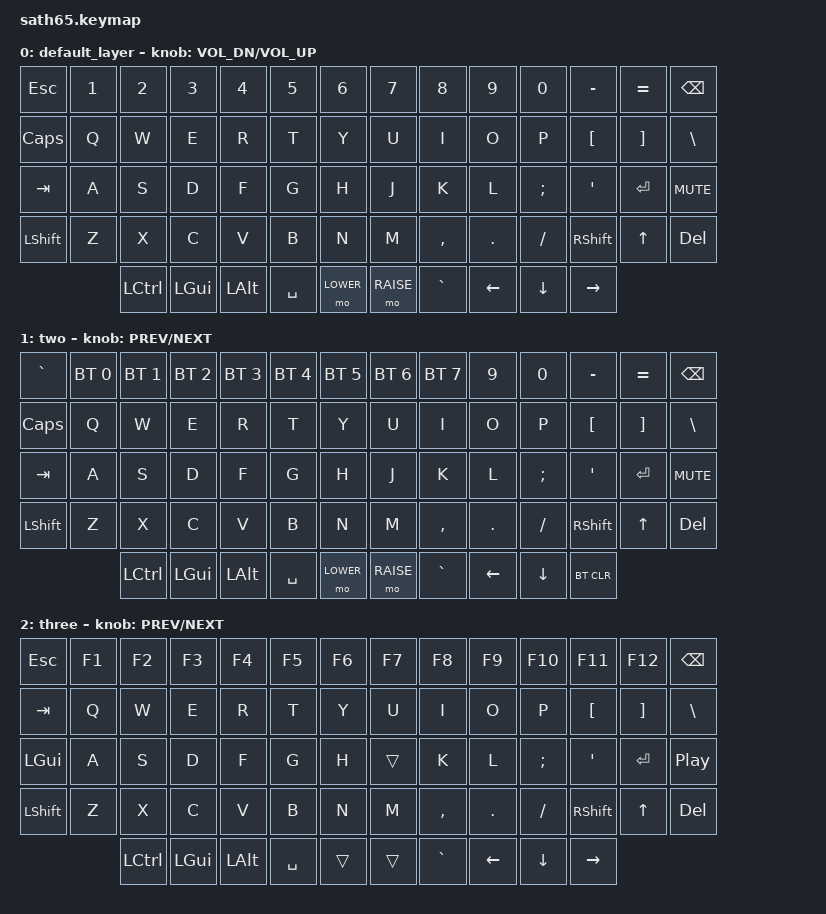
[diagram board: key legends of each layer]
/*
 * Copyright (c) 2020 The ZMK Contributors
 *
 * SPDX-License-Identifier: MIT
 */

#include <behaviors.dtsi>
#include <dt-bindings/zmk/keys.h>
#include <dt-bindings/zmk/bt.h>

#define DEFAULT 0
#define LOWER   1
#define RAISE   2
/ {
    	behaviors {
		hm: behavior_lt_mo {
			compatible = "zmk,behavior-hold-tap";
			label = "lt_label";
			#binding-cells = <2>;
			tapping_term_ms = <150>;
			bindings = <&mo>, <&kp>;
			flavor = "tap-preferred";
		};

        gresc: grave_escape {
            compatible = "zmk,behavior-mod-morph";
            label = "GRAVE_ESCAPE";
            #binding-cells = <0>;
            bindings = <&kp ESC>, <&kp GRAVE>;
            mods = <(MOD_LGUI|MOD_LSFT|MOD_RGUI|MOD_RSFT)>;
};
    };


    keymap {
        compatible = "zmk,keymap";

        default_layer {
 //   |  ESC  |  1  |  2  |  3  |  4  |  5  |  6  |  7  |  8  |  9  |  0  |  -  |  +  |  backspace  |
 //   |  tab  |  q  |  w  |  e  |  r  |  t  |  y  |  u  |  i  |  o  |  p  |  [  |  ]  |  \  |
 //   |  caps  |  a  |  s  |  d  |  f  |  g  |  h  |  j  |  k  |  l  |  ;  |  '  |  enter  |  encoder_button  |
 //   |  shift  |  z  |  x  |  c  |  v  |  b  |  n  |  m  |  ,  |  .  |  /  |  shift  |  up  |  extra  |
 //   |  ctrl  |  win  |  alt    |  space    |  alt  |  win  |  menu  |  left  |  down  |  right  |


            bindings = <
&kp ESC  &kp N1  &kp N2  &kp N3  &kp N4  &kp N5  &kp N6  &kp N7  &kp N8  &kp N9  &kp N0  &kp MINUS  &kp EQUAL  &kp BSPC
&kp CAPS  &kp Q  &kp W  &kp E  &kp R  &kp T  &kp Y  &kp U  &kp I  &kp O  &kp P  &kp LBKT  &kp RBKT &kp BSLH 
&kp TAB  &kp A  &kp S  &kp D  &kp F  &kp G  &kp H  &kp J  &kp K  &kp L  &kp SEMI  &kp SQT  &kp ENTER  &kp C_MUTE
&kp LSHFT  &kp Z  &kp X  &kp C  &kp V  &kp B  &kp N  &kp M  &kp COMMA  &kp DOT  &kp FSLH  &kp RSHFT  &kp UP  &kp DEL
&kp LCTRL  &kp LGUI  &kp LALT      &kp SPACE      &mo LOWER  &mo RAISE  &kp GRAVE  &kp LEFT  &kp DOWN  &kp RIGHT
            >;

            sensor-bindings = <&inc_dec_kp C_VOL_DN C_VOL_UP>;
        };

        two {
 //   |  ESC  |  1  |  2  |  3  |  4  |  5  |  6  |  7  |  8  |  9  |  0  |  -  |  +  |  backspace  |
 //   |  tab  |  q  |  w  |  e  |  r  |  t  |  y  |  u  |  i  |  o  |  p  |  [  |  ]  |  \  |
 //   |  caps  |  a  |  s  |  d  |  f  |  g  |  h  |  j  |  k  |  l  |  ;  |  '  |  enter  |  encoder_button  |
 //   |  shift  |  z  |  x  |  c  |  v  |  b  |  n  |  m  |  ,  |  .  |  /  |  shift  |  up  |  extra  |
 //   |  ctrl  |  win  |  alt    |  space    |  alt  |  win  |  menu  |  left  |  down  |  right  |


            bindings = <
&kp GRAVE  &bt BT_SEL 0 &bt BT_SEL 1  &bt BT_SEL 2  &bt BT_SEL 3  &bt BT_SEL 4  &bt BT_SEL 5  &bt BT_SEL 6  &bt BT_SEL 7  &kp N9  &kp N0  &kp MINUS  &kp EQUAL  &kp BSPC
&kp CAPS  &kp Q  &kp W  &kp E  &kp R  &kp T  &kp Y  &kp U  &kp I  &kp O  &kp P  &kp LBKT  &kp RBKT &kp BSLH 
&kp TAB  &kp A  &kp S  &kp D  &kp F  &kp G  &kp H  &kp J  &kp K  &kp L  &kp SEMI  &kp SQT  &kp ENTER  &kp C_MUTE
&kp LSHFT  &kp Z  &kp X  &kp C  &kp V  &kp B  &kp N  &kp M  &kp COMMA  &kp DOT  &kp FSLH  &kp RSHFT  &kp UP  &kp DEL
&kp LCTRL  &kp LGUI  &kp LALT      &kp SPACE      &mo LOWER  &mo RAISE  &kp GRAVE  &kp LEFT  &kp DOWN  &bt BT_CLR
            >;

            sensor-bindings = <&inc_dec_kp C_PREV C_NEXT>;
        };

        three {
 //   |  ESC  |  1  |  2  |  3  |  4  |  5  |  6  |  7  |  8  |  9  |  0  |  -  |  +  |  backspace  |
 //   |  tab  |  q  |  w  |  e  |  r  |  t  |  y  |  u  |  i  |  o  |  p  |  [  |  ]  |  \  |
 //   |  caps  |  a  |  s  |  d  |  f  |  g  |  h  |  j  |  k  |  l  |  ;  |  '  |  enter  |  encoder_button  |
 //   |  shift  |  z  |  x  |  c  |  v  |  b  |  n  |  m  |  ,  |  .  |  /  |  shift  |  up  |  extra  |
 //   |  ctrl  |  win  |  alt    |  space    |  alt  |  win  |  menu  |  left  |  down  |  right  |


            bindings = <
&kp ESC  &kp F1  &kp F2  &kp F3  &kp F4  &kp F5  &kp F6  &kp F7  &kp F8  &kp F9  &kp F10  &kp F11  &kp F12  &kp BSPC
&kp TAB  &kp Q  &kp W  &kp E  &kp R  &kp T  &kp Y  &kp U  &kp I  &kp O  &kp P  &kp LBKT  &kp RBKT &kp BSLH 
&kp LGUI  &kp A  &kp S  &kp D  &kp F  &kp G  &kp H  &trans  &kp K  &kp L  &kp SEMI  &kp SQT  &kp ENTER  &kp C_PP
&kp LSHFT  &kp Z  &kp X  &kp C  &kp V  &kp B  &kp N  &kp M  &kp COMMA  &kp DOT  &kp FSLH  &kp RSHFT  &kp UP  &kp DEL
&kp LCTRL  &kp LGUI  &kp LALT      &kp SPACE      &trans   &trans  &kp GRAVE  &kp LEFT  &kp DOWN  &kp RIGHT
            >;

            sensor-bindings = <&inc_dec_kp C_PREV C_NEXT>;
        };
    };
};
